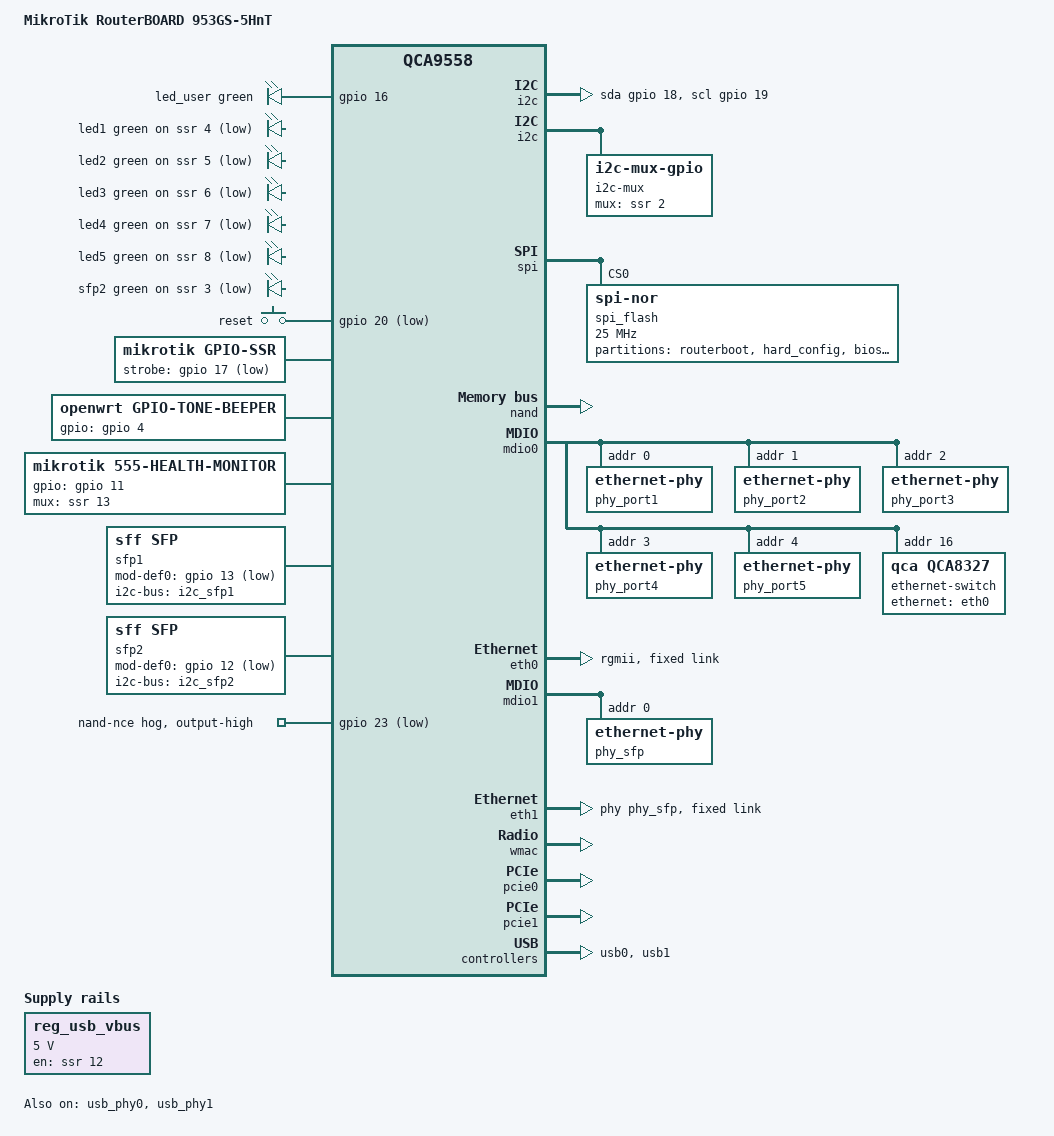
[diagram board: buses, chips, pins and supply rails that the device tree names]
// SPDX-License-Identifier: GPL-2.0-or-later OR MIT

#include "qca955x.dtsi"

#include <dt-bindings/gpio/gpio.h>
#include <dt-bindings/input/input.h>
#include <dt-bindings/leds/common.h>

/ {
	compatible = "mikrotik,routerboard-953gs-5hnt", "qca,qca9558";
	model = "MikroTik RouterBOARD 953GS-5HnT";

	aliases {
		led-boot = &led_user;
		led-failsafe = &led_user;
		led-upgrade = &led_user;
	};

	leds {
		compatible = "gpio-leds";

		led_user: user {
			color = <LED_COLOR_ID_GREEN>;
			function = "user";
			gpios = <&gpio 16 GPIO_ACTIVE_HIGH>;
		};

		led1 {
			color = <LED_COLOR_ID_GREEN>;
			function = "led1";
			gpios = <&ssr 4 GPIO_ACTIVE_LOW>;
		};

		led2 {
			color = <LED_COLOR_ID_GREEN>;
			function = "led2";
			gpios = <&ssr 5 GPIO_ACTIVE_LOW>;
		};

		led3 {
			color = <LED_COLOR_ID_GREEN>;
			function = "led3";
			gpios = <&ssr 6 GPIO_ACTIVE_LOW>;
		};

		led4 {
			color = <LED_COLOR_ID_GREEN>;
			function = "led4";
			gpios = <&ssr 7 GPIO_ACTIVE_LOW>;
		};

		led5 {
			color = <LED_COLOR_ID_GREEN>;
			function = "led5";
			gpios = <&ssr 8 GPIO_ACTIVE_LOW>;
		};

		sfp2 {
			color = <LED_COLOR_ID_GREEN>;
			function = "sfp2";
			gpios = <&ssr 3 GPIO_ACTIVE_LOW>;
		};
	};

	keys {
		compatible = "gpio-keys";

		reset {
			label = "reset";
			linux,code = <KEY_RESTART>;
			gpios = <&gpio 20 GPIO_ACTIVE_LOW>;
			debounce-interval = <60>;
		};
	};

	reg_usb_vbus: regulator-usb-vbus {
		compatible = "regulator-fixed";
		regulator-name = "usb-vbus";
		regulator-min-microvolt = <5000000>;
		regulator-max-microvolt = <5000000>;
		gpios = <&ssr 12 GPIO_ACTIVE_HIGH>;
		enable-active-high;
	};

	/* 74HC595 that only shifts while the SPI flash is selected */
	ssr: gpio-ssr {
		compatible = "mikrotik,gpio-ssr";
		gpio-controller;
		#gpio-cells = <2>;
		mikrotik,spi-flash = <&spi_flash>;
		strobe-gpios = <&gpio 17 GPIO_ACTIVE_LOW>;
		registers-number = <2>;
		/* Vendor default 0x0c00: both miniPCIe slots powered */
		registers-default = /bits/ 8 <0x0c 0x00>;
	};

	/* Passive piezo buzzer */
	beeper {
		compatible = "openwrt,gpio-tone-beeper";
		gpios = <&gpio 4 GPIO_ACTIVE_HIGH>;
	};

	/*
	 * Input voltage and PCB temperature, measured by a 555 timer. The
	 * tables map the low time fraction (x100000) to mV and m°C; they
	 * are the ones RouterOS uses for this board.
	 */
	health {
		compatible = "mikrotik,555-health-monitor";
		gpios = <&gpio 11 GPIO_ACTIVE_HIGH>;
		mux-gpios = <&ssr 13 GPIO_ACTIVE_HIGH>;
		nvmem-cells = <&hc_voltage_calibration>;
		nvmem-cell-names = "calibration";
		mikrotik,voltage-table =
			<36215 8000>, <32789 12000>, <27880 18000>,
			<23009 24000>, <19749 28000>, <16487 32000>,
			<13226 36000>;
		mikrotik,temperature-table =
			<86772 (-20000)>, <85407 (-10000)>, <84158 (-5000)>,
			<81250 0>, <74780 5000>, <69446 10000>,
			<63640 20000>, <56921 30000>, <49313 40000>,
			<43017 50000>, <37599 60000>, <34900 66000>,
			<32960 72000>, <30844 80000>, <29210 90000>,
			<25632 102000>;
	};

	i2c: i2c {
		compatible = "i2c-gpio";

		sda-gpios = <&gpio 18 (GPIO_ACTIVE_HIGH|GPIO_OPEN_DRAIN)>;
		scl-gpios = <&gpio 19 (GPIO_ACTIVE_HIGH|GPIO_OPEN_DRAIN)>;
		i2c-gpio,delay-us = <5>;
		i2c-gpio,timeout-ms = <1>;
	};

	/* Both SFP cages share the i2c bus through a mux on SSR bit 2 */
	i2c-mux {
		compatible = "i2c-mux-gpio";
		#address-cells = <1>;
		#size-cells = <0>;

		i2c-parent = <&i2c>;
		mux-gpios = <&ssr 2 GPIO_ACTIVE_HIGH>;

		i2c_sfp2: i2c@0 {
			reg = <0>;
			#address-cells = <1>;
			#size-cells = <0>;
		};

		i2c_sfp1: i2c@1 {
			reg = <1>;
			#address-cells = <1>;
			#size-cells = <0>;
		};
	};

	/* SFP1 cage (left), on switch port 6 */
	sfp1: sfp1 {
		compatible = "sff,sfp";

		i2c-bus = <&i2c_sfp1>;
		maximum-power-milliwatt = <1000>;
		mod-def0-gpios = <&gpio 13 GPIO_ACTIVE_LOW>;
	};

	/* SFP2 cage (right), on the SoC GMAC1 */
	sfp2: sfp2 {
		compatible = "sff,sfp";

		i2c-bus = <&i2c_sfp2>;
		maximum-power-milliwatt = <1000>;
		mod-def0-gpios = <&gpio 12 GPIO_ACTIVE_LOW>;
	};
};

&gpio {
	/* NAND chip enable, also shared with the RouterOS reset pin hole */
	nand-nce-hog {
		gpio-hog;
		gpios = <23 GPIO_ACTIVE_LOW>;
		output-high;
		line-name = "nand-nce";
	};
};

&spi {
	status = "okay";

	spi_flash: flash@0 {
		compatible = "jedec,spi-nor";
		reg = <0>;
		spi-max-frequency = <25000000>;

		partitions {
			compatible = "mikrotik,routerboot-partitions";
			#address-cells = <1>;
			#size-cells = <1>;

			partition@0 {
				label = "routerboot";
				reg = <0x0 0x0>;
				read-only;
			};

			hard_config {
				read-only;

				nvmem-layout {
					compatible = "mikrotik,routerboot-nvmem";

					hc_voltage_calibration: voltage-calibration {
					};
				};
			};

			bios {
				size = <0x1000>;
				read-only;
			};

			soft_config {
			};
		};
	};
};

&nand {
	status = "okay";

	nand-ecc-mode = "soft";
	nand-ecc-step-size = <2048>;
	qca,nand-swap-dma;
	qca,nand-scan-fixup;

	partitions {
		compatible = "fixed-partitions";
		#address-cells = <1>;
		#size-cells = <1>;

		partition@0 {
			label = "booter";
			reg = <0x0000000 0x0040000>;
			read-only;
		};

		partition@40000 {
			label = "kernel";
			reg = <0x0040000 0x03c0000>;
		};

		partition@400000 {
			label = "ubi";
			reg = <0x0400000 0x7c00000>;
		};
	};
};

&mdio0 {
	status = "okay";

	phy_port1: ethernet-phy@0 {
		reg = <0>;
	};

	phy_port2: ethernet-phy@1 {
		reg = <1>;
	};

	phy_port3: ethernet-phy@2 {
		reg = <2>;
	};

	phy_port4: ethernet-phy@3 {
		reg = <3>;
	};

	phy_port5: ethernet-phy@4 {
		reg = <4>;
	};

	ethernet-switch@10 {
		compatible = "qca,qca8327";
		reg = <0x10>;

		ethernet-ports {
			#address-cells = <1>;
			#size-cells = <0>;

			ethernet-port@0 {
				reg = <0>;
				ethernet = <&eth0>;
				phy-mode = "rgmii-id";

				fixed-link {
					speed = <1000>;
					full-duplex;
				};
			};

			ethernet-port@1 {
				reg = <1>;
				label = "ether1";
				phy-handle = <&phy_port1>;

				leds {
					#address-cells = <1>;
					#size-cells = <0>;

					led@0 {
						reg = <0>;
						color = <LED_COLOR_ID_GREEN>;
						function = "ether1";
						default-state = "keep";
					};

					led@1 {
						reg = <1>;
						color = <LED_COLOR_ID_ORANGE>;
						function = "ether1";
						default-state = "keep";
					};
				};
			};

			ethernet-port@2 {
				reg = <2>;
				label = "ether2";
				phy-handle = <&phy_port2>;

				leds {
					#address-cells = <1>;
					#size-cells = <0>;

					led@0 {
						reg = <0>;
						color = <LED_COLOR_ID_GREEN>;
						function = "ether2";
						default-state = "keep";
					};

					led@1 {
						reg = <1>;
						color = <LED_COLOR_ID_ORANGE>;
						function = "ether2";
						default-state = "keep";
					};
				};
			};

			ethernet-port@3 {
				reg = <3>;
				label = "ether3";
				phy-handle = <&phy_port3>;

				leds {
					#address-cells = <1>;
					#size-cells = <0>;

					led@0 {
						reg = <0>;
						color = <LED_COLOR_ID_GREEN>;
						function = "ether3";
						default-state = "keep";
					};

					led@1 {
						reg = <1>;
						color = <LED_COLOR_ID_ORANGE>;
						function = "ether3";
						default-state = "keep";
					};
				};
			};

			/* PHY3 and PHY4 have no connector, but their LED pins
			 * power the SFP1 cage and drive an SFP LED. The ports
			 * must be enabled for qca8k to register the LEDs.
			 */
			ethernet-port@4 {
				reg = <4>;
				label = "unused1";
				phy-handle = <&phy_port4>;

				leds {
					#address-cells = <1>;
					#size-cells = <0>;

					led@2 {
						reg = <2>;
						function = "sfp1-power";
						default-state = "on";
					};
				};
			};

			ethernet-port@5 {
				reg = <5>;
				label = "unused2";
				phy-handle = <&phy_port5>;

				leds {
					#address-cells = <1>;
					#size-cells = <0>;

					led@2 {
						reg = <2>;
						color = <LED_COLOR_ID_GREEN>;
						function = "sfp1";
					};
				};
			};

			ethernet-port@6 {
				reg = <6>;
				label = "sfp1";
				phy-mode = "1000base-x";
				managed = "in-band-status";
				sfp = <&sfp1>;
			};
		};
	};
};

&eth0 {
	status = "okay";

	phy-mode = "rgmii";
	/* gigabit pll-data as set by RouterBOOT
	 * TX_INVERT, RX_DELAY=3, TX_DELAY=3, GIGE
	 */
	pll-data = <0xbe000000 0x00000101 0x00001616>;

	fixed-link {
		speed = <1000>;
		full-duplex;
	};

	gmac-config {
		device = <&gmac>;
		rgmii-enabled = <1>;
	};
};

&mdio1 {
	status = "okay";

	phy_sfp: ethernet-phy@0 {
		reg = <0>;
		phy-mode = "sgmii";
		sfp = <&sfp2>;
	};
};

&eth1 {
	status = "okay";

	openwrt,netdev-name = "sfp2";

	phy-handle = <&phy_sfp>;
	pll-data = <0x03000000 0x00000101 0x00001616>;
	qca955x-sgmii-fixup;

	gmac-config {
		device = <&gmac>;
	};

	fixed-link {
		speed = <1000>;
		full-duplex;
	};
};

&wmac {
	status = "okay";

	qca,no-eeprom;
};

&pcie0 {
	status = "okay";
};

&pcie1 {
	status = "okay";
};

&usb0 {
	status = "okay";
};

&usb_phy0 {
	status = "okay";

	phy-supply = <&reg_usb_vbus>;
};

&usb1 {
	status = "okay";
};

&usb_phy1 {
	status = "okay";
};
